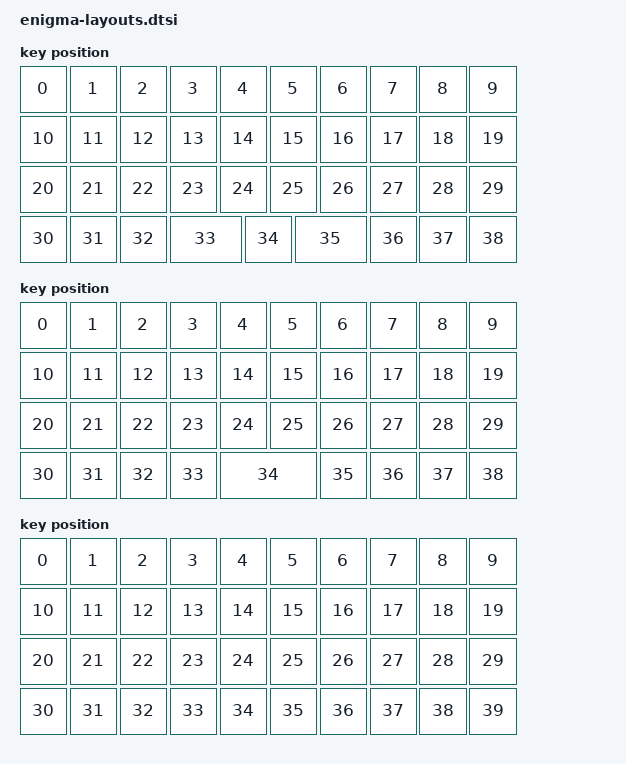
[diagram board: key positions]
// 物理レイアウト用の定義を取り込む（ZMK Studio対応に必須）
#include <physical_layouts.dtsi>

/ {
    // 配置A: デフォルトの物理レイアウト (ロータリーエンコーダー+キースイッチ39)
    enigma_layout_a: enigma_layout_a {
        compatible = "zmk,physical-layout";
        display-name = "Enigma Layout A"; // ZMK Studioで表示される名前
        transform = <&default_transform>;
        kscan = <&kscan0>;

        keys = <
            // row1: キー0〜9 (1.0u x 10個)
            &key_physical_attrs 100 100 0 0 0 0 0      // RC(0,0)
            &key_physical_attrs 100 100 100 0 0 0 0    // RC(0,1)
            &key_physical_attrs 100 100 200 0 0 0 0    // RC(0,2)
            &key_physical_attrs 100 100 300 0 0 0 0    // RC(0,3)
            &key_physical_attrs 100 100 400 0 0 0 0    // RC(0,4)
            &key_physical_attrs 100 100 500 0 0 0 0    // RC(0,5)
            &key_physical_attrs 100 100 600 0 0 0 0    // RC(0,6)
            &key_physical_attrs 100 100 700 0 0 0 0    // RC(0,7)
            &key_physical_attrs 100 100 800 0 0 0 0    // RC(0,8)
            &key_physical_attrs 100 100 900 0 0 0 0    // RC(1,9)

            // row2: キー10〜19 (1.0u x 10個)
            &key_physical_attrs 100 100 0 100 0 0 0    // RC(1,0)
            &key_physical_attrs 100 100 100 100 0 0 0  // RC(1,1)
            &key_physical_attrs 100 100 200 100 0 0 0  // RC(1,2)
            &key_physical_attrs 100 100 300 100 0 0 0  // RC(1,3)
            &key_physical_attrs 100 100 400 100 0 0 0  // RC(1,4)
            &key_physical_attrs 100 100 500 100 0 0 0  // RC(1,5)
            &key_physical_attrs 100 100 600 100 0 0 0  // RC(1,6)
            &key_physical_attrs 100 100 700 100 0 0 0  // RC(1,7)
            &key_physical_attrs 100 100 800 100 0 0 0  // RC(1,8)
            &key_physical_attrs 100 100 900 100 0 0 0  // RC(2,9)

            // row3: キー20〜29 (1.0u x 10個)
            &key_physical_attrs 100 100 0 200 0 0 0    // RC(2,0)
            &key_physical_attrs 100 100 100 200 0 0 0  // RC(2,1)
            &key_physical_attrs 100 100 200 200 0 0 0  // RC(2,2)
            &key_physical_attrs 100 100 300 200 0 0 0  // RC(2,3)
            &key_physical_attrs 100 100 400 200 0 0 0  // RC(2,4)
            &key_physical_attrs 100 100 500 200 0 0 0  // RC(2,5)
            &key_physical_attrs 100 100 600 200 0 0 0  // RC(2,6)
            &key_physical_attrs 100 100 700 200 0 0 0  // RC(2,7)
            &key_physical_attrs 100 100 800 200 0 0 0  // RC(2,8)
            &key_physical_attrs 100 100 900 200 0 0 0  // RC(3,9)

            // row4: キー30〜38 (1.0u x 7個 + 1.5u x 2個 = 9個)
            &key_physical_attrs 100 100 0 300 0 0 0    // RC(3,0) 1.0u
            &key_physical_attrs 100 100 100 300 0 0 0  // RC(3,1) 1.0u
            &key_physical_attrs 100 100 200 300 0 0 0  // RC(3,2) 1.0u
            &key_physical_attrs 150 100 300 300 0 0 0  // RC(3,3) 1.5u
            &key_physical_attrs 100 100 450 300 0 0 0  // RC(3,4) 1.0u
            &key_physical_attrs 150 100 550 300 0 0 0  // RC(3,5) 1.5u
            &key_physical_attrs 100 100 700 300 0 0 0  // RC(3,6) 1.0u
            &key_physical_attrs 100 100 800 300 0 0 0  // RC(4,7) 1.0u
            &key_physical_attrs 100 100 900 300 0 0 0  // RC(4,8) 1.0u
            // RC(4,9) はなし
        >;
    };

    // 配置B: (ロータリーエンコーダー+キースイッチ39)
    enigma_layout_b: enigma_layout_b {
        compatible = "zmk,physical-layout";
        display-name = "Enigma Layout B";
        transform = <&default_transform>;
        kscan = <&kscan0>;

        keys = <
            // row1: キー0〜9 (1.0u x 10個)
            &key_physical_attrs 100 100 0 0 0 0 0      // RC(0,0)
            &key_physical_attrs 100 100 100 0 0 0 0    // RC(0,1)
            &key_physical_attrs 100 100 200 0 0 0 0    // RC(0,2)
            &key_physical_attrs 100 100 300 0 0 0 0    // RC(0,3)
            &key_physical_attrs 100 100 400 0 0 0 0    // RC(0,4)
            &key_physical_attrs 100 100 500 0 0 0 0    // RC(0,5)
            &key_physical_attrs 100 100 600 0 0 0 0    // RC(0,6)
            &key_physical_attrs 100 100 700 0 0 0 0    // RC(0,7)
            &key_physical_attrs 100 100 800 0 0 0 0    // RC(0,8)
            &key_physical_attrs 100 100 900 0 0 0 0    // RC(1,9)

            // row2: キー10〜19 (1.0u x 10個)
            &key_physical_attrs 100 100 0 100 0 0 0    // RC(1,0)
            &key_physical_attrs 100 100 100 100 0 0 0  // RC(1,1)
            &key_physical_attrs 100 100 200 100 0 0 0  // RC(1,2)
            &key_physical_attrs 100 100 300 100 0 0 0  // RC(1,3)
            &key_physical_attrs 100 100 400 100 0 0 0  // RC(1,4)
            &key_physical_attrs 100 100 500 100 0 0 0  // RC(1,5)
            &key_physical_attrs 100 100 600 100 0 0 0  // RC(1,6)
            &key_physical_attrs 100 100 700 100 0 0 0  // RC(1,7)
            &key_physical_attrs 100 100 800 100 0 0 0  // RC(1,8)
            &key_physical_attrs 100 100 900 100 0 0 0  // RC(2,9)

            // row3: キー20〜29 (1.0u x 10個)
            &key_physical_attrs 100 100 0 200 0 0 0    // RC(2,0)
            &key_physical_attrs 100 100 100 200 0 0 0  // RC(2,1)
            &key_physical_attrs 100 100 200 200 0 0 0  // RC(2,2)
            &key_physical_attrs 100 100 300 200 0 0 0  // RC(2,3)
            &key_physical_attrs 100 100 400 200 0 0 0  // RC(2,4)
            &key_physical_attrs 100 100 500 200 0 0 0  // RC(2,5)
            &key_physical_attrs 100 100 600 200 0 0 0  // RC(2,6)
            &key_physical_attrs 100 100 700 200 0 0 0  // RC(2,7)
            &key_physical_attrs 100 100 800 200 0 0 0  // RC(2,8)
            &key_physical_attrs 100 100 900 200 0 0 0  // RC(3,9)

            // row4: キー30〜38 (1.0u x 8個 + 2.0u x 1個 = 9個)
            &key_physical_attrs 100 100 0 300 0 0 0    // RC(3,0) 1.0u
            &key_physical_attrs 100 100 100 300 0 0 0  // RC(3,1) 1.0u
            &key_physical_attrs 100 100 200 300 0 0 0  // RC(3,2) 1.0u
            &key_physical_attrs 100 100 300 300 0 0 0  // RC(3,3) 1.0u
            &key_physical_attrs 200 100 400 300 0 0 0  // RC(3,4) 2.0u
            &key_physical_attrs 100 100 600 300 0 0 0  // RC(3,5) 1.0u
            &key_physical_attrs 100 100 700 300 0 0 0  // RC(3,6) 1.0u
            &key_physical_attrs 100 100 800 300 0 0 0  // RC(4,7) 1.0u
            &key_physical_attrs 100 100 900 300 0 0 0  // RC(4,8) 1.0u
            // RC(4,9) はなし
        >;
    };

    // 配置C: (ロータリーエンコーダー+キースイッチ40)
    enigma_layout_c: enigma_layout_c {
        compatible = "zmk,physical-layout";
        display-name = "Enigma Layout C";
        transform = <&default_transform>;
        kscan = <&kscan0>;

        keys = <
            // row1: キー0〜9 (1.0u x 10個)
            &key_physical_attrs 100 100 0 0 0 0 0      // RC(0,0)
            &key_physical_attrs 100 100 100 0 0 0 0    // RC(0,1)
            &key_physical_attrs 100 100 200 0 0 0 0    // RC(0,2)
            &key_physical_attrs 100 100 300 0 0 0 0    // RC(0,3)
            &key_physical_attrs 100 100 400 0 0 0 0    // RC(0,4)
            &key_physical_attrs 100 100 500 0 0 0 0    // RC(0,5)
            &key_physical_attrs 100 100 600 0 0 0 0    // RC(0,6)
            &key_physical_attrs 100 100 700 0 0 0 0    // RC(0,7)
            &key_physical_attrs 100 100 800 0 0 0 0    // RC(0,8)
            &key_physical_attrs 100 100 900 0 0 0 0    // RC(1,9)

            // row2: キー10〜19 (1.0u x 10個)
            &key_physical_attrs 100 100 0 100 0 0 0    // RC(1,0)
            &key_physical_attrs 100 100 100 100 0 0 0  // RC(1,1)
            &key_physical_attrs 100 100 200 100 0 0 0  // RC(1,2)
            &key_physical_attrs 100 100 300 100 0 0 0  // RC(1,3)
            &key_physical_attrs 100 100 400 100 0 0 0  // RC(1,4)
            &key_physical_attrs 100 100 500 100 0 0 0  // RC(1,5)
            &key_physical_attrs 100 100 600 100 0 0 0  // RC(1,6)
            &key_physical_attrs 100 100 700 100 0 0 0  // RC(1,7)
            &key_physical_attrs 100 100 800 100 0 0 0  // RC(1,8)
            &key_physical_attrs 100 100 900 100 0 0 0  // RC(2,9)

            // row3: キー20〜29 (1.0u x 10個)
            &key_physical_attrs 100 100 0 200 0 0 0    // RC(2,0)
            &key_physical_attrs 100 100 100 200 0 0 0  // RC(2,1)
            &key_physical_attrs 100 100 200 200 0 0 0  // RC(2,2)
            &key_physical_attrs 100 100 300 200 0 0 0  // RC(2,3)
            &key_physical_attrs 100 100 400 200 0 0 0  // RC(2,4)
            &key_physical_attrs 100 100 500 200 0 0 0  // RC(2,5)
            &key_physical_attrs 100 100 600 200 0 0 0  // RC(2,6)
            &key_physical_attrs 100 100 700 200 0 0 0  // RC(2,7)
            &key_physical_attrs 100 100 800 200 0 0 0  // RC(2,8)
            &key_physical_attrs 100 100 900 200 0 0 0  // RC(3,9)

            // row4: キー30〜39 (1.0u x 10個)
            &key_physical_attrs 100 100 0 300 0 0 0    // RC(3,0)
            &key_physical_attrs 100 100 100 300 0 0 0  // RC(3,1)
            &key_physical_attrs 100 100 200 300 0 0 0  // RC(3,2)
            &key_physical_attrs 100 100 300 300 0 0 0  // RC(3,3)
            &key_physical_attrs 100 100 400 300 0 0 0  // RC(3,4)
            &key_physical_attrs 100 100 500 300 0 0 0  // RC(3,5)
            &key_physical_attrs 100 100 600 300 0 0 0  // RC(3,6)
            &key_physical_attrs 100 100 700 300 0 0 0  // RC(3,7)
            &key_physical_attrs 100 100 800 300 0 0 0  // RC(3,8)
            &key_physical_attrs 100 100 900 300 0 0 0  // RC(4,9)
        >;
    };
};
